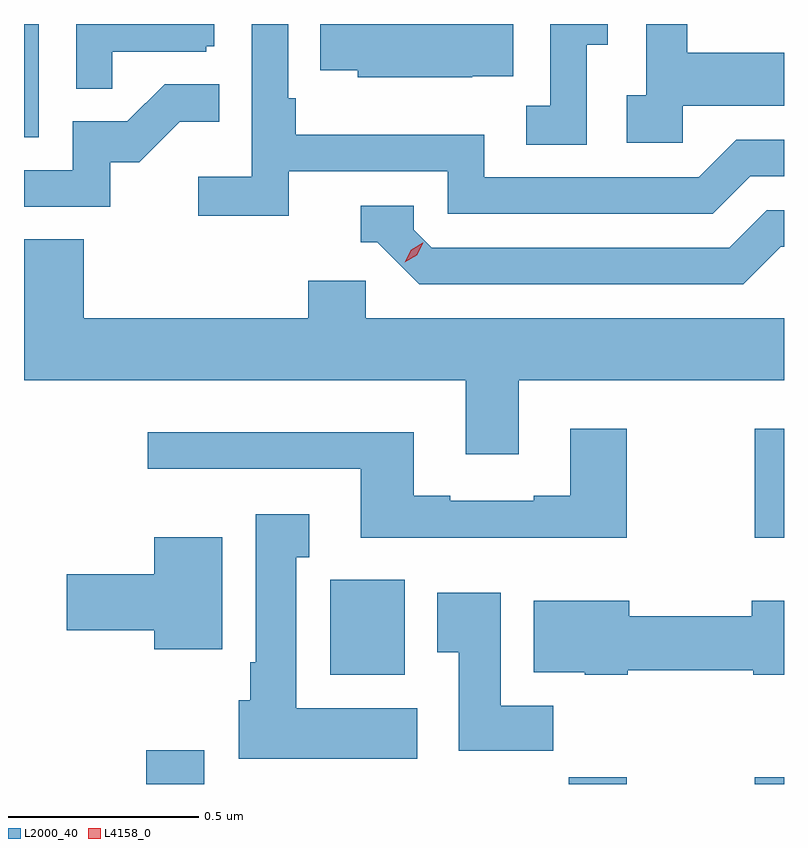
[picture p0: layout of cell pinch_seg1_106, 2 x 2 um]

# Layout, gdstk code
import gdstk
lib = gdstk.Library(unit=1e-6, precision=1e-09)
def R(c, l, rs):  # rectangles x0, y0, x1, y1
    for r in rs: c.add(gdstk.rectangle(r[:2], r[2:], *l))
def P(c, l, *ps):  # polygons
    for p in ps: c.add(gdstk.Polygon(p, *l))
L2000_40 = (2000, 40)
L4158_0 = (4158, 0)

pinch_seg1_106 = lib.new_cell('pinch_seg1_106')
R(pinch_seg1_106, L2000_40, [(1041.113,561.326,1041.265,561.415), (1042.225,561.326,1042.377,561.344), (1042.714,561.326,1042.791,561.344), (1041.597,561.614,1041.793,561.864), (1042.714,561.974,1042.791,562.261), (1040.791,563.028,1040.83,563.326)])
P(pinch_seg1_106, L2000_40, [(1042.524,563.111),(1042.791,563.111),(1042.791,563.251),(1042.537,563.251),(1042.537,563.326),(1042.428,563.326),(1042.428,563.138),(1042.377,563.138),(1042.377,563.013),(1042.524,563.013)],
  [(1041.488,562.938),(1041.906,562.938),(1041.906,562.827),(1042.603,562.827),(1042.702,562.926),(1042.791,562.926),(1042.791,563.022),(1042.665,563.022),(1042.566,562.923),(1042.002,562.923),(1042.002,563.035),(1041.506,563.035),(1041.506,563.131),(1041.486,563.131),(1041.486,563.326),(1041.39,563.326),(1041.39,562.924),(1041.249,562.924),(1041.249,562.822),(1041.488,562.822)],
  [(1041.023,563.253),(1041.27,563.253),(1041.27,563.268),(1041.292,563.268),(1041.292,563.326),(1040.928,563.326),(1040.928,563.155),(1041.023,563.155)],
  [(1041.971,563.189),(1042.079,563.189),(1042.079,563.326),(1041.571,563.326),(1041.571,563.204),(1041.669,563.204),(1041.669,563.186),(1041.971,563.186)],
  [(1042.272,563.272),(1042.327,563.272),(1042.327,563.326),(1042.176,563.326),(1042.176,563.111),(1042.113,563.111),(1042.113,563.008),(1042.272,563.008)],
  [(1041.018,562.962),(1041.094,562.962),(1041.201,563.069),(1041.305,563.069),(1041.305,563.168),(1041.161,563.168),(1041.063,563.07),(1040.919,563.07),(1040.919,562.941),(1040.791,562.941),(1040.791,562.845),(1041.018,562.845)],
  [(1042.783,562.74),(1042.791,562.74),(1042.791,562.836),(1042.746,562.836),(1042.647,562.737),(1041.864,562.737),(1041.816,562.785),(1041.816,562.848),(1041.677,562.848),(1041.677,562.752),(1041.72,562.752),(1041.831,562.641),(1042.684,562.641)],
  [(1042.093,562.388),(1042.791,562.388),(1042.791,562.552),(1041.69,562.552),(1041.69,562.65),(1041.539,562.65),(1041.539,562.552),(1040.948,562.552),(1040.948,562.76),(1040.791,562.76),(1040.791,562.388),(1041.953,562.388),(1041.953,562.194),(1042.093,562.194)],
  [(1042.377,562.261),(1042.229,562.261),(1042.229,562.084),(1042.133,562.084),(1042.133,562.071),(1041.913,562.071),(1041.913,562.084),(1041.817,562.084),(1041.817,562.252),(1041.117,562.252),(1041.117,562.155),(1041.677,562.155),(1041.677,561.974),(1042.377,561.974)],
  [(1041.826,561.526),(1041.508,561.526),(1041.508,561.923),(1041.541,561.923),(1041.541,562.036),(1041.401,562.036),(1041.401,561.646),(1041.386,561.646),(1041.386,561.546),(1041.356,561.546),(1041.356,561.392),(1041.826,561.392)],
  [(1041.313,561.976),(1041.134,561.976),(1041.134,561.878),(1040.904,561.878),(1040.904,561.731),(1041.134,561.731),(1041.134,561.68),(1041.313,561.68)],
  [(1042.184,561.532),(1042.045,561.532),(1042.045,561.829),(1041.878,561.829),(1041.878,561.673),(1041.935,561.673),(1041.935,561.414),(1042.184,561.414)],
  [(1042.38,561.625),(1042.71,561.625),(1042.71,561.614),(1042.791,561.614),(1042.791,561.808),(1042.706,561.808),(1042.706,561.767),(1042.384,561.767),(1042.384,561.808),(1042.133,561.808),(1042.133,561.62),(1042.266,561.62),(1042.266,561.614),(1042.38,561.614)])
P(pinch_seg1_106, L4158_0, [(1041.793,562.699),(1041.793,562.699),(1041.81,562.732),(1041.84,562.751),(1041.841,562.751),(1041.841,562.75),(1041.824,562.718),(1041.793,562.699)])

lib.write_gds('pinch_seg1_106.gds')
